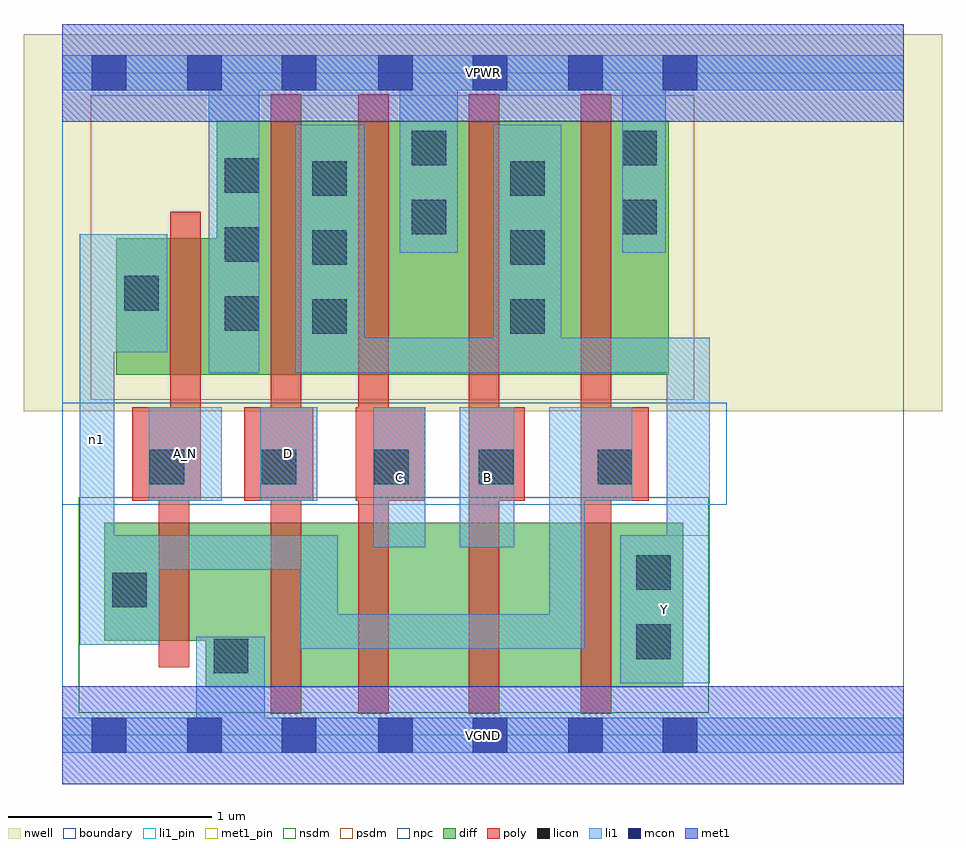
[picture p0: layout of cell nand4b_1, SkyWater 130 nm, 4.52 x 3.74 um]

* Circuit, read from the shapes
.subckt nand4b_1 A_N B C D VGND VPWR Y n1
XM1 VGND A_N n1 VSUBS sky130_fd_pr__nfet_01v8 w=0.58 l=0.15
XM2 n2 D VGND VSUBS sky130_fd_pr__nfet_01v8 w=0.81 l=0.15
XM3 n3 C n2 VSUBS sky130_fd_pr__nfet_01v8 w=0.81 l=0.15
XM4 n4 B n3 VSUBS sky130_fd_pr__nfet_01v8 w=0.81 l=0.15
XM5 Y n1 n4 VSUBS sky130_fd_pr__nfet_01v8 w=0.81 l=0.15
XM6 VPWR A_N n1 n5 sky130_fd_pr__pfet_01v8 w=0.67 l=0.15
XM7 Y D VPWR n5 sky130_fd_pr__pfet_01v8 w=1.25 l=0.15
XM8 VPWR C Y n5 sky130_fd_pr__pfet_01v8 w=1.25 l=0.15
XM9 Y B VPWR n5 sky130_fd_pr__pfet_01v8 w=1.25 l=0.15
XM10 VPWR n1 Y n5 sky130_fd_pr__pfet_01v8 w=1.25 l=0.15
.ends

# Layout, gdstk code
import gdstk
lib = gdstk.Library(unit=1e-6, precision=1e-09)
def R(c, l, rs):  # rectangles x0, y0, x1, y1
    for r in rs: c.add(gdstk.rectangle(r[:2], r[2:], *l))
def A(c, l, x, y, w, h, nx, ny, dx, dy):  # array of equal rectangles
    R(c, l, [(x+i*dx, y+j*dy, x+i*dx+w, y+j*dy+h) for i in range(nx) for j in range(ny)])
nwell = (64, 20)
diff = (65, 20)
poly = (66, 20)
licon = (66, 44)
li1_pin = (67, 16)
li1 = (67, 20)
mcon = (67, 44)
met1_pin = (68, 16)
met1 = (68, 20)
nsdm = (93, 44)
psdm = (94, 20)
npc = (95, 20)
boundary = (235, 4)

nand4b_1 = lib.new_cell('nand4b_1')
R(nand4b_1, nwell, [(-0.19,1.595,4.33,3.45), (0,1.595,4.14,3.45)])
R(nand4b_1, diff, [(0.705,0.235,3.055,1.045), (0.205,0.465,3.055,1.045), (0.265,1.775,2.985,2.445), (0.76,1.775,2.985,3.025)])
R(nand4b_1, poly, [(1.025,0.105,1.175,3.155), (1.455,0.105,1.605,3.155), (2,0.105,2.15,3.155), (2.55,0.105,2.7,3.155), (0.475,0.335,0.625,1.615), (0.345,1.155,0.68,1.615), (0.53,1.155,0.68,2.575), (0.895,1.155,1.235,1.615), (1.445,1.155,1.785,1.615), (2,1.155,2.275,1.615), (2.55,1.155,2.885,1.615)])
A(nand4b_1, licon, 1.23, 1.975, 0.17, 0.17, 1, 3, 0, 0.34)
A(nand4b_1, licon, 2.205, 1.975, 0.17, 0.17, 1, 3, 0, 0.34)
A(nand4b_1, licon, 0.8, 1.99, 0.17, 0.17, 1, 3, 0, 0.34)
R(nand4b_1, licon, [(0.745,0.305,0.915,0.475), (2.825,0.375,2.995,0.545), (0.245,0.63,0.415,0.8), (2.825,0.715,2.995,0.885), (0.43,1.235,0.6,1.405), (0.98,1.235,1.15,1.405), (1.535,1.235,1.705,1.405), (2.05,1.235,2.22,1.405), (2.635,1.235,2.805,1.405), (0.305,2.09,0.475,2.26), (1.72,2.465,1.89,2.635), (2.755,2.465,2.925,2.635), (1.72,2.805,1.89,2.975), (2.755,2.805,2.925,2.975)])
R(nand4b_1, li1_pin, [(2.745,0.255,3.185,0.985), (1.53,0.925,1.785,1.615), (1.955,0.925,2.225,1.615), (0.425,1.155,0.785,1.615), (0.975,1.155,1.255,1.615)])
R(nand4b_1, li1, [(0,-0.085,4.14,0.085), (0.66,-0.085,0.995,0.485), (2.745,0.255,3.185,0.985), (2.975,0.255,3.185,1.955), (1.17,0.425,2.57,0.595), (1.17,0.425,1.355,0.985), (2.395,0.425,2.57,1.615), (0.085,0.445,0.255,2.465), (0.085,0.445,0.48,0.985), (0.085,0.815,1.355,0.985), (1.53,0.925,1.785,1.615), (1.955,0.925,2.225,1.615), (0.425,1.155,0.785,1.615), (0.975,1.155,1.255,1.615), (2.395,1.155,2.805,1.615), (0.72,1.785,0.97,3.345), (1.145,1.785,3.185,1.955), (1.145,1.785,1.485,3.005), (2.12,1.785,2.455,3.005), (0.085,1.885,0.515,2.465), (1.66,2.375,1.945,3.345), (2.755,2.375,2.97,3.345), (0,3.175,4.14,3.345)])
R(nand4b_1, mcon, [(0.145,-0.085,0.315,0.085), (0.615,-0.085,0.785,0.085), (1.08,-0.085,1.25,0.085), (1.555,-0.085,1.725,0.085), (2.02,-0.085,2.19,0.085), (2.49,-0.085,2.66,0.085), (2.955,-0.085,3.125,0.085), (0.145,3.175,0.315,3.345), (0.615,3.175,0.785,3.345), (1.08,3.175,1.25,3.345), (1.555,3.175,1.725,3.345), (2.02,3.175,2.19,3.345), (2.49,3.175,2.66,3.345), (2.955,3.175,3.125,3.345)])
R(nand4b_1, met1_pin, [(0,-0.24,4.14,0.24), (0,3.02,4.14,3.5)])
R(nand4b_1, met1, [(0,-0.24,4.14,0.24), (0,3.02,4.14,3.5)])
R(nand4b_1, nsdm, [(0.08,0.11,3.18,1.17)])
R(nand4b_1, psdm, [(0.14,1.65,3.11,3.15)])
R(nand4b_1, npc, [(0,1.135,3.27,1.635)])
R(nand4b_1, boundary, [(0,0,4.14,3.26)])
nand4b_1.add(gdstk.Label('A_N', (0.605,1.385), layer=67, texttype=5))
nand4b_1.add(gdstk.Label('B', (2.09,1.27), layer=67, texttype=5))
nand4b_1.add(gdstk.Label('C', (1.657,1.27), layer=67, texttype=5))
nand4b_1.add(gdstk.Label('D', (1.115,1.385), layer=67, texttype=5))
nand4b_1.add(gdstk.Label('Y', (2.965,0.62), layer=67, texttype=5))
nand4b_1.add(gdstk.Label('n1', (0.17,1.455), layer=67, texttype=5))
nand4b_1.add(gdstk.Label('VPWR', (2.07,3.26), layer=68, texttype=5))
nand4b_1.add(gdstk.Label('VGND', (2.07,0), layer=68, texttype=5))
nand4b_1.add(gdstk.Label('A_N', (0.605,1.385), layer=67, texttype=16))
nand4b_1.add(gdstk.Label('B', (2.09,1.27), layer=67, texttype=16))
nand4b_1.add(gdstk.Label('C', (1.657,1.27), layer=67, texttype=16))
nand4b_1.add(gdstk.Label('D', (1.115,1.385), layer=67, texttype=16))
nand4b_1.add(gdstk.Label('Y', (2.965,0.62), layer=67, texttype=16))
nand4b_1.add(gdstk.Label('VPWR', (2.07,3.26), layer=68, texttype=16))
nand4b_1.add(gdstk.Label('VGND', (2.07,0), layer=68, texttype=16))

lib.write_gds('nand4b_1.gds')
